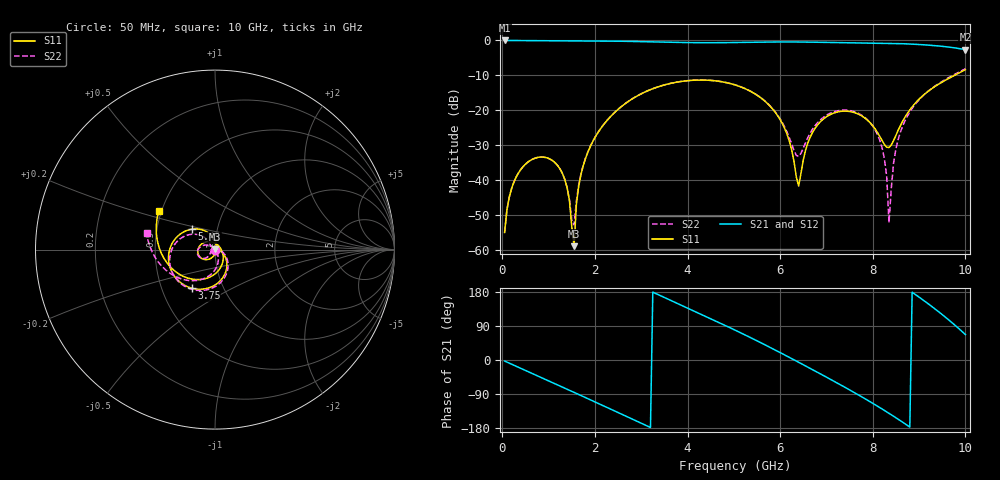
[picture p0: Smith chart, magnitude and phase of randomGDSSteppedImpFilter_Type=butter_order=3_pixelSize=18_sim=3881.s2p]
! freq	dB(S11)	phase(S11)	dB(S12)	phase(S12)
!  dB(S21)	phase(S21)	dB(S22)	phase(S22)
!S-par simulation data
#  GHz  S  DB  R 50
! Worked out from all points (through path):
!   200 points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, 50 MHz to 10 GHz, reference 50 ohm
!   highest |S21| = -0.01 dB at 50 MHz (marker M1); lowest = -2.7 dB at 10 GHz (marker M2)
!   group delay of S21, straight-line fit = 173 ps
!   lowest |S11| = -59.0 dB at 1.55 GHz (marker M3), VSWR 1.00, Z = 50.1 + j0.068 ohm
!   |S11| at or under -10 dB: start of sweep to 9.766 GHz
!   |S22| runs from -55.0 to -8.1 dB; largest |S21 - S12| = 0
!   S11 on the Smith chart (normalised r, x): 50 MHz: 1.00, -0.00; 3.75 GHz: 0.71, -0.32; 5.45 GHz: 0.75, +0.18; 10 GHz: 0.48, +0.25
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0.05  -55.05 -80.4  -0.01 -2.8  -0.01 -2.8  -55.03 -80.2
0.3  -39.15 -104.8  -0.03 -16.6  -0.03 -16.6  -39.16 -104.9
0.9  -33.46 -140.7  -0.06 -49.5  -0.06 -49.5  -33.47 -141.6
1.35  -39.86 -166.7  -0.08 -74.3  -0.08 -74.3  -39.86 -172.5
1.55  -58.97 37.1  -0.10 -85.4  -0.10 -85.4  -52.88 65.9
1.6  -46.99 4.5  -0.10 -88.2  -0.10 -88.2  -46.06 25.1
1.75  -35.81 -6.4  -0.11 -96.6  -0.11 -96.6  -35.65 1.5
2.35  -21.65 -41.1  -0.19 -130.2  -0.19 -130.2  -21.62 -37.1
3.4  -13.15 -101.4  -0.46 170.7  -0.46 170.7  -13.13 -97.0
3.75  -12.00 -121.2  -0.56 151.1  -0.56 151.1  -11.99 -116.2
5.05  -12.84 163.9  -0.59 77.5  -0.59 77.5  -12.82 173.6
5.45  -15.26 138.9  -0.51 53.7  -0.51 53.7  -15.23 152.2
6.1  -25.31 91.5  -0.43 13.2  -0.43 13.2  -24.89 128.2
6.4  -41.75 -18.2  -0.45 -6.0  -0.45 -6.0  -33.26 -176.4
6.7  -26.35 -111.6  -0.50 -25.5  -0.50 -25.5  -25.43 -134.9
7.95  -23.70 138.7  -0.74 -110.7  -0.74 -110.7  -23.68 158.0
8.25  -29.81 77.1  -0.80 -133.0  -0.80 -133.0  -33.79 136.6
8.35  -30.70 35.3  -0.83 -140.7  -0.83 -140.7  -52.24 85.0
8.45  -28.68 -4.4  -0.86 -148.5  -0.86 -148.5  -35.06 -56.3
8.7  -21.91 -57.1  -0.97 -168.6  -0.97 -168.6  -22.90 -75.9
9.45  -12.31 -145.8  -1.63 124.7  -1.63 124.7  -12.13 -138.4
10  -8.38 145.2  -2.65 67.1  -2.65 67.1  -8.14 166.7
